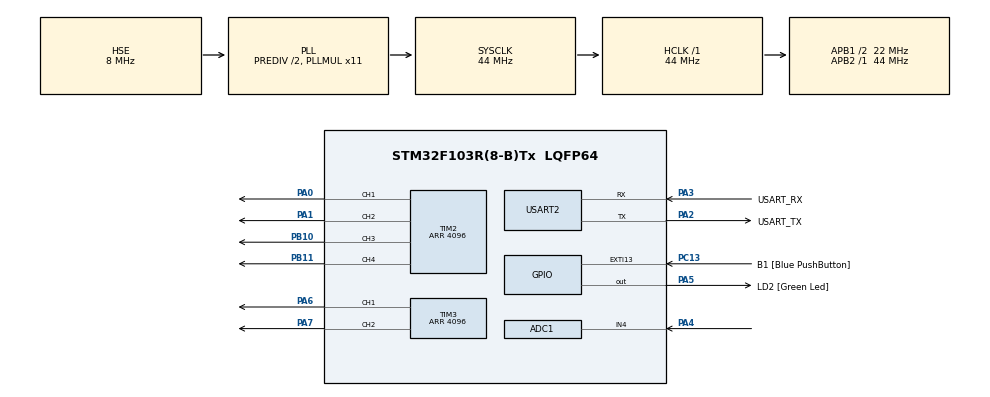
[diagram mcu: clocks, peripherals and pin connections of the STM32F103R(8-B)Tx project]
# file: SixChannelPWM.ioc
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ADC1.Channel-1\#ChannelRegularConversion=ADC_CHANNEL_4
ADC1.NbrOfConversionFlag=1
ADC1.Rank-1\#ChannelRegularConversion=1
ADC1.SamplingTime-1\#ChannelRegularConversion=ADC_SAMPLETIME_1CYCLE_5
ADC1.master=1
Mcu.Family=STM32F1
Mcu.Name=STM32F103R(8-B)Tx
Mcu.Package=LQFP64
NVIC.EXTI15_10_IRQn=true\:0\:0\:false\:false\:true\:true\:true\:true
NVIC.PriorityGroup=NVIC_PRIORITYGROUP_4
PA0-WKUP.Signal=S_TIM2_CH1_ETR
PA1.Signal=S_TIM2_CH2
PA13.GPIO_Label=TMS
PA13.Mode=Serial_Wire
PA13.Signal=SYS_JTMS-SWDIO
PA14.GPIO_Label=TCK
PA14.Mode=Serial_Wire
PA14.Signal=SYS_JTCK-SWCLK
PA2.GPIO_Label=USART_TX
PA2.GPIO_Mode=GPIO_MODE_AF_PP
PA2.GPIO_PuPd=GPIO_NOPULL
PA2.GPIO_Speed=GPIO_SPEED_FREQ_LOW
PA2.Mode=Asynchronous
PA2.Signal=USART2_TX
PA3.GPIO_Label=USART_RX
PA3.GPIO_Mode=GPIO_MODE_AF_PP
PA3.GPIO_PuPd=GPIO_NOPULL
PA3.GPIO_Speed=GPIO_SPEED_FREQ_LOW
PA3.Mode=Asynchronous
PA3.Signal=USART2_RX
PA4.Signal=ADCx_IN4
PA5.GPIO_Label=LD2 [Green Led]
PA5.GPIO_ModeDefaultOutputPP=GPIO_MODE_OUTPUT_PP
PA5.GPIO_PuPd=GPIO_NOPULL
PA5.GPIO_Speed=GPIO_SPEED_FREQ_LOW
PA5.Signal=GPIO_Output
PA6.Signal=S_TIM3_CH1
PA7.Signal=S_TIM3_CH2
PB10.Signal=S_TIM2_CH3
PB11.Signal=S_TIM2_CH4
PB3.GPIO_Label=SWO
PB3.Signal=SYS_JTDO-TRACESWO
PC13-TAMPER-RTC.GPIO_Label=B1 [Blue PushButton]
PC13-TAMPER-RTC.GPIO_PuPd=GPIO_NOPULL
PC13-TAMPER-RTC.Signal=GPXTI13
PC14-OSC32_IN.Mode=LSE-External-Oscillator
PC14-OSC32_IN.Signal=RCC_OSC32_IN
PC15-OSC32_OUT.Mode=LSE-External-Oscillator
PC15-OSC32_OUT.Signal=RCC_OSC32_OUT
PD0-OSC_IN.Mode=HSE-External-Clock-Source
PD0-OSC_IN.Signal=RCC_OSC_IN
PD1-OSC_OUT.Mode=HSE-External-Clock-Source
PD1-OSC_OUT.Signal=RCC_OSC_OUT
ProjectManager.HeapSize=0x200
ProjectManager.StackSize=0x400
ProjectManager.TargetToolchain=STM32CubeIDE
RCC.ADCPresc=RCC_ADCPCLK2_DIV4
RCC.AHBFreq_Value=44000000
RCC.APB1CLKDivider=RCC_HCLK_DIV2
RCC.APB1Freq_Value=22000000
RCC.APB1TimFreq_Value=44000000
RCC.APB2Freq_Value=44000000
RCC.APB2TimFreq_Value=44000000
RCC.HCLKFreq_Value=44000000
RCC.HSEDivPLL=RCC_HSE_PREDIV_DIV2
RCC.PLLMUL=RCC_PLL_MUL11
RCC.PLLSourceVirtual=RCC_PLLSOURCE_HSE
RCC.RTCClockSelection=RCC_RTCCLKSOURCE_LSE
RCC.SYSCLKFreq_VALUE=44000000
RCC.SYSCLKSource=RCC_SYSCLKSOURCE_PLLCLK
RCC.USBFreq_Value=44000000
SH.ADCx_IN4.0=ADC1_IN4,IN4
SH.S_TIM2_CH1_ETR.0=TIM2_CH1,PWM Generation1 CH1
SH.S_TIM2_CH2.0=TIM2_CH2,PWM Generation2 CH2
SH.S_TIM2_CH3.0=TIM2_CH3,PWM Generation3 CH3
SH.S_TIM2_CH4.0=TIM2_CH4,PWM Generation4 CH4
SH.S_TIM3_CH1.0=TIM3_CH1,PWM Generation1 CH1
SH.S_TIM3_CH2.0=TIM3_CH2,PWM Generation2 CH2
TIM2.AutoReloadPreload=TIM_AUTORELOAD_PRELOAD_ENABLE
TIM2.Channel-PWM\ Generation1\ CH1=TIM_CHANNEL_1
TIM2.Channel-PWM\ Generation2\ CH2=TIM_CHANNEL_2
TIM2.Channel-PWM\ Generation3\ CH3=TIM_CHANNEL_3
TIM2.Channel-PWM\ Generation4\ CH4=TIM_CHANNEL_4
TIM2.OCPolarity_2=TIM_OCPOLARITY_LOW
TIM2.OCPolarity_4=TIM_OCPOLARITY_LOW
TIM2.Period=4096
TIM2.Pulse-PWM\ Generation1\ CH1=1024
TIM2.Pulse-PWM\ Generation2\ CH2=1024
TIM2.Pulse-PWM\ Generation3\ CH3=1024
TIM2.Pulse-PWM\ Generation4\ CH4=1024
TIM3.Channel-PWM\ Generation1\ CH1=TIM_CHANNEL_1
TIM3.Channel-PWM\ Generation2\ CH2=TIM_CHANNEL_2
TIM3.OCPolarity_2=TIM_OCPOLARITY_LOW
TIM3.Period=4096
TIM3.Pulse-PWM\ Generation1\ CH1=1024
TIM3.Pulse-PWM\ Generation2\ CH2=1024
USART2.VirtualMode=VM_ASYNC
VP_TIM2_VS_ClockSourceINT.Mode=Internal
VP_TIM3_VS_ClockSourceINT.Mode=Internal
board=NUCLEO-F103RB

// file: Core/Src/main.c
/* USER CODE BEGIN Header */
/**
  ******************************************************************************
  * @file           : main.c
  * @brief          : Main program body
  ******************************************************************************
  * @attention
  *
  * Copyright (c) 2024 STMicroelectronics.
  * All rights reserved.
  *
  * This software is licensed under terms that can be found in the LICENSE file
  * in the root directory of this software component.
  * If no LICENSE file comes with this software, it is provided AS-IS.
  *
  ******************************************************************************
  */
/* USER CODE END Header */
#include "main.h"

/* USER CODE BEGIN Includes */
#include <stdio.h>
#include <string.h>
/* USER CODE END Includes */

ADC_HandleTypeDef hadc1;

TIM_HandleTypeDef htim2;
TIM_HandleTypeDef htim3;

UART_HandleTypeDef huart2;

/* USER CODE BEGIN PV */
uint16_t potVal = 0;
char msg[20];
/* USER CODE END PV */

void SystemClock_Config(void);
static void MX_GPIO_Init(void);
static void MX_USART2_UART_Init(void);
static void MX_TIM2_Init(void);
static void MX_TIM3_Init(void);
static void MX_ADC1_Init(void);

int main(void)
{

  /* MCU Configuration--------------------------------------------------------*/

  /* Reset of all peripherals, Initializes the Flash interface and the Systick. */
  HAL_Init();

  /* Configure the system clock */
  SystemClock_Config();

  /* Initialize all configured peripherals */
  MX_GPIO_Init();
  MX_USART2_UART_Init();
  MX_TIM2_Init();
  MX_TIM3_Init();
  MX_ADC1_Init();
  /* USER CODE BEGIN 2 */
  HAL_TIM_PWM_Start(&htim2, TIM_CHANNEL_1);
  HAL_TIM_PWM_Start(&htim2, TIM_CHANNEL_2);
  HAL_TIM_PWM_Start(&htim2, TIM_CHANNEL_3);
  HAL_TIM_PWM_Start(&htim2, TIM_CHANNEL_4);

  HAL_TIM_PWM_Start(&htim3, TIM_CHANNEL_1);
  HAL_TIM_PWM_Start(&htim3, TIM_CHANNEL_2);

  /* USER CODE END 2 */

  /* Infinite loop */
  while (1)
  {

    /* USER CODE BEGIN 3 */

	  HAL_ADC_Start(&hadc1);
	  HAL_ADC_PollForConversion(&hadc1, 20);
	  potVal = HAL_ADC_GetValue(&hadc1);
	  sprintf(msg, "Pot Value: %hu \r\n", potVal);
	  HAL_UART_Transmit(&huart2, (uint8_t *)msg, strlen(msg), HAL_MAX_DELAY);
	  TIM2->CCR1=potVal;
	  TIM2->CCR2=potVal;
	  TIM2->CCR3=potVal;
	  TIM2->CCR4=potVal;

	  TIM3->CCR1=potVal;
	  TIM3->CCR2=potVal;
	  HAL_Delay(50);
  }
  /* USER CODE END 3 */
}

void SystemClock_Config(void)
{
  RCC_OscInitTypeDef RCC_OscInitStruct = {0};
  RCC_ClkInitTypeDef RCC_ClkInitStruct = {0};
  RCC_PeriphCLKInitTypeDef PeriphClkInit = {0};

  /** Initializes the RCC Oscillators according to the specified parameters
  * in the RCC_OscInitTypeDef structure.
  */
  RCC_OscInitStruct.OscillatorType = RCC_OSCILLATORTYPE_HSE;
  RCC_OscInitStruct.HSEState = RCC_HSE_BYPASS;
  RCC_OscInitStruct.HSEPredivValue = RCC_HSE_PREDIV_DIV2;
  RCC_OscInitStruct.HSIState = RCC_HSI_ON;
  RCC_OscInitStruct.PLL.PLLState = RCC_PLL_ON;
  RCC_OscInitStruct.PLL.PLLSource = RCC_PLLSOURCE_HSE;
  RCC_OscInitStruct.PLL.PLLMUL = RCC_PLL_MUL11;
  if (HAL_RCC_OscConfig(&RCC_OscInitStruct) != HAL_OK)
  {
    Error_Handler();
  }

  /** Initializes the CPU, AHB and APB buses clocks
  */
  RCC_ClkInitStruct.ClockType = RCC_CLOCKTYPE_HCLK|RCC_CLOCKTYPE_SYSCLK
                              |RCC_CLOCKTYPE_PCLK1|RCC_CLOCKTYPE_PCLK2;
  RCC_ClkInitStruct.SYSCLKSource = RCC_SYSCLKSOURCE_PLLCLK;
  RCC_ClkInitStruct.AHBCLKDivider = RCC_SYSCLK_DIV1;
  RCC_ClkInitStruct.APB1CLKDivider = RCC_HCLK_DIV2;
  RCC_ClkInitStruct.APB2CLKDivider = RCC_HCLK_DIV1;

  if (HAL_RCC_ClockConfig(&RCC_ClkInitStruct, FLASH_LATENCY_1) != HAL_OK)
  {
    Error_Handler();
  }
  PeriphClkInit.PeriphClockSelection = RCC_PERIPHCLK_ADC;
  PeriphClkInit.AdcClockSelection = RCC_ADCPCLK2_DIV4;
  if (HAL_RCCEx_PeriphCLKConfig(&PeriphClkInit) != HAL_OK)
  {
    Error_Handler();
  }
}

static void MX_ADC1_Init(void)
{

  ADC_ChannelConfTypeDef sConfig = {0};

  /** Common config
  */
  hadc1.Instance = ADC1;
  hadc1.Init.ScanConvMode = ADC_SCAN_DISABLE;
  hadc1.Init.ContinuousConvMode = DISABLE;
  hadc1.Init.DiscontinuousConvMode = DISABLE;
  hadc1.Init.ExternalTrigConv = ADC_SOFTWARE_START;
  hadc1.Init.DataAlign = ADC_DATAALIGN_RIGHT;
  hadc1.Init.NbrOfConversion = 1;
  if (HAL_ADC_Init(&hadc1) != HAL_OK)
  {
    Error_Handler();
  }

  /** Configure Regular Channel
  */
  sConfig.Channel = ADC_CHANNEL_4;
  sConfig.Rank = ADC_REGULAR_RANK_1;
  sConfig.SamplingTime = ADC_SAMPLETIME_1CYCLE_5;
  if (HAL_ADC_ConfigChannel(&hadc1, &sConfig) != HAL_OK)
  {
    Error_Handler();
  }

}

static void MX_TIM2_Init(void)
{

  TIM_ClockConfigTypeDef sClockSourceConfig = {0};
  TIM_MasterConfigTypeDef sMasterConfig = {0};
  TIM_OC_InitTypeDef sConfigOC = {0};

  htim2.Instance = TIM2;
  htim2.Init.Prescaler = 0;
  htim2.Init.CounterMode = TIM_COUNTERMODE_UP;
  htim2.Init.Period = 4096;
  htim2.Init.ClockDivision = TIM_CLOCKDIVISION_DIV1;
  htim2.Init.AutoReloadPreload = TIM_AUTORELOAD_PRELOAD_ENABLE;
  if (HAL_TIM_Base_Init(&htim2) != HAL_OK)
  {
    Error_Handler();
  }
  sClockSourceConfig.ClockSource = TIM_CLOCKSOURCE_INTERNAL;
  if (HAL_TIM_ConfigClockSource(&htim2, &sClockSourceConfig) != HAL_OK)
  {
    Error_Handler();
  }
  if (HAL_TIM_PWM_Init(&htim2) != HAL_OK)
  {
    Error_Handler();
  }
  sMasterConfig.MasterOutputTrigger = TIM_TRGO_RESET;
  sMasterConfig.MasterSlaveMode = TIM_MASTERSLAVEMODE_DISABLE;
  if (HAL_TIMEx_MasterConfigSynchronization(&htim2, &sMasterConfig) != HAL_OK)
  {
    Error_Handler();
  }
  sConfigOC.OCMode = TIM_OCMODE_PWM1;
  sConfigOC.Pulse = 1024;
  sConfigOC.OCPolarity = TIM_OCPOLARITY_HIGH;
  sConfigOC.OCFastMode = TIM_OCFAST_DISABLE;
  if (HAL_TIM_PWM_ConfigChannel(&htim2, &sConfigOC, TIM_CHANNEL_1) != HAL_OK)
  {
    Error_Handler();
  }
  sConfigOC.OCPolarity = TIM_OCPOLARITY_LOW;
  if (HAL_TIM_PWM_ConfigChannel(&htim2, &sConfigOC, TIM_CHANNEL_2) != HAL_OK)
  {
    Error_Handler();
  }
  sConfigOC.OCPolarity = TIM_OCPOLARITY_HIGH;
  if (HAL_TIM_PWM_ConfigChannel(&htim2, &sConfigOC, TIM_CHANNEL_3) != HAL_OK)
  {
    Error_Handler();
  }
  sConfigOC.OCPolarity = TIM_OCPOLARITY_LOW;
  if (HAL_TIM_PWM_ConfigChannel(&htim2, &sConfigOC, TIM_CHANNEL_4) != HAL_OK)
  {
    Error_Handler();
  }
  HAL_TIM_MspPostInit(&htim2);

}

static void MX_TIM3_Init(void)
{

  TIM_ClockConfigTypeDef sClockSourceConfig = {0};
  TIM_MasterConfigTypeDef sMasterConfig = {0};
  TIM_OC_InitTypeDef sConfigOC = {0};

  htim3.Instance = TIM3;
  htim3.Init.Prescaler = 0;
  htim3.Init.CounterMode = TIM_COUNTERMODE_UP;
  htim3.Init.Period = 4096;
  htim3.Init.ClockDivision = TIM_CLOCKDIVISION_DIV1;
  htim3.Init.AutoReloadPreload = TIM_AUTORELOAD_PRELOAD_DISABLE;
  if (HAL_TIM_Base_Init(&htim3) != HAL_OK)
  {
    Error_Handler();
  }
  sClockSourceConfig.ClockSource = TIM_CLOCKSOURCE_INTERNAL;
  if (HAL_TIM_ConfigClockSource(&htim3, &sClockSourceConfig) != HAL_OK)
  {
    Error_Handler();
  }
  if (HAL_TIM_PWM_Init(&htim3) != HAL_OK)
  {
    Error_Handler();
  }
  sMasterConfig.MasterOutputTrigger = TIM_TRGO_RESET;
  sMasterConfig.MasterSlaveMode = TIM_MASTERSLAVEMODE_DISABLE;
  if (HAL_TIMEx_MasterConfigSynchronization(&htim3, &sMasterConfig) != HAL_OK)
  {
    Error_Handler();
  }
  sConfigOC.OCMode = TIM_OCMODE_PWM1;
  sConfigOC.Pulse = 1024;
  sConfigOC.OCPolarity = TIM_OCPOLARITY_HIGH;
  sConfigOC.OCFastMode = TIM_OCFAST_DISABLE;
  if (HAL_TIM_PWM_ConfigChannel(&htim3, &sConfigOC, TIM_CHANNEL_1) != HAL_OK)
  {
    Error_Handler();
  }
  sConfigOC.OCPolarity = TIM_OCPOLARITY_LOW;
  if (HAL_TIM_PWM_ConfigChannel(&htim3, &sConfigOC, TIM_CHANNEL_2) != HAL_OK)
  {
    Error_Handler();
  }
  HAL_TIM_MspPostInit(&htim3);

}

static void MX_USART2_UART_Init(void)
{

  huart2.Instance = USART2;
  huart2.Init.BaudRate = 115200;
  huart2.Init.WordLength = UART_WORDLENGTH_8B;
  huart2.Init.StopBits = UART_STOPBITS_1;
  huart2.Init.Parity = UART_PARITY_NONE;
  huart2.Init.Mode = UART_MODE_TX_RX;
  huart2.Init.HwFlowCtl = UART_HWCONTROL_NONE;
  huart2.Init.OverSampling = UART_OVERSAMPLING_16;
  if (HAL_UART_Init(&huart2) != HAL_OK)
  {
    Error_Handler();
  }

}

static void MX_GPIO_Init(void)
{
  GPIO_InitTypeDef GPIO_InitStruct = {0};

  /* GPIO Ports Clock Enable */
  __HAL_RCC_GPIOC_CLK_ENABLE();
  __HAL_RCC_GPIOD_CLK_ENABLE();
  __HAL_RCC_GPIOA_CLK_ENABLE();
  __HAL_RCC_GPIOB_CLK_ENABLE();

  /*Configure GPIO pin Output Level */
  HAL_GPIO_WritePin(LD2_GPIO_Port, LD2_Pin, GPIO_PIN_RESET);

  /*Configure GPIO pin : B1_Pin */
  GPIO_InitStruct.Pin = B1_Pin;
  GPIO_InitStruct.Mode = GPIO_MODE_IT_RISING;
  GPIO_InitStruct.Pull = GPIO_NOPULL;
  HAL_GPIO_Init(B1_GPIO_Port, &GPIO_InitStruct);

  /*Configure GPIO pin : LD2_Pin */
  GPIO_InitStruct.Pin = LD2_Pin;
  GPIO_InitStruct.Mode = GPIO_MODE_OUTPUT_PP;
  GPIO_InitStruct.Pull = GPIO_NOPULL;
  GPIO_InitStruct.Speed = GPIO_SPEED_FREQ_LOW;
  HAL_GPIO_Init(LD2_GPIO_Port, &GPIO_InitStruct);

  /* EXTI interrupt init*/
  HAL_NVIC_SetPriority(EXTI15_10_IRQn, 0, 0);
  HAL_NVIC_EnableIRQ(EXTI15_10_IRQn);

}

void Error_Handler(void)
{
  __disable_irq();
  while (1)
  {
  }
}
